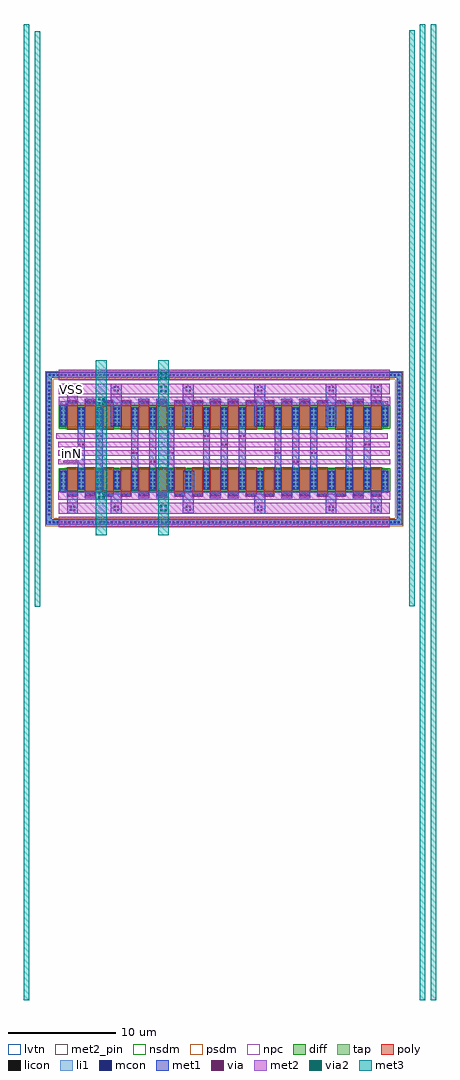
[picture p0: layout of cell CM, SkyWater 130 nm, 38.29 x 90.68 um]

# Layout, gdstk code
import gdstk
lib = gdstk.Library(unit=1e-6, precision=5e-09)
def R(c, l, rs):  # rectangles x0, y0, x1, y1
    for r in rs: c.add(gdstk.rectangle(r[:2], r[2:], *l))
def A(c, l, x, y, w, h, nx, ny, dx, dy):  # array of equal rectangles
    R(c, l, [(x+i*dx, y+j*dy, x+i*dx+w, y+j*dy+h) for i in range(nx) for j in range(ny)])
def P(c, l, *ps):  # polygons
    for p in ps: c.add(gdstk.Polygon(p, *l))
diff = (65, 20)
tap = (65, 44)
poly = (66, 20)
licon = (66, 44)
li1 = (67, 20)
mcon = (67, 44)
met1 = (68, 20)
via = (68, 44)
met2_pin = (69, 16)
met2 = (69, 20)
via2 = (69, 44)
met3 = (70, 20)
nsdm = (93, 44)
psdm = (94, 20)
npc = (95, 20)
lvtn = (125, 44)

nfet = lib.new_cell('nfet')
R(nfet, diff, [(0,0,2.32,2)])
R(nfet, poly, [(0.66,-0.2,1.66,2.2), (0.66,2.2,1.66,2.53)])
A(nfet, licon, 0.065, 0.195, 0.17, 0.17, 1, 5, 0, 0.36)
A(nfet, licon, 0.425, 0.195, 0.17, 0.17, 1, 5, 0, 0.36)
A(nfet, licon, 1.725, 0.195, 0.17, 0.17, 1, 5, 0, 0.36)
A(nfet, licon, 2.085, 0.195, 0.17, 0.17, 1, 5, 0, 0.36)
A(nfet, licon, 0.715, 2.28, 0.17, 0.17, 3, 1, 0.36, 0)
R(nfet, li1, [(0.065,0.115,0.595,1.885), (1.725,0.115,2.255,1.885), (0.635,2.28,1.685,2.45)])
A(nfet, mcon, 0.065, 0.195, 0.17, 0.17, 1, 5, 0, 0.36)
A(nfet, mcon, 0.425, 0.195, 0.17, 0.17, 1, 5, 0, 0.36)
A(nfet, mcon, 1.725, 0.195, 0.17, 0.17, 1, 5, 0, 0.36)
A(nfet, mcon, 2.085, 0.195, 0.17, 0.17, 1, 5, 0, 0.36)
A(nfet, mcon, 0.715, 2.28, 0.17, 0.17, 3, 1, 0.36, 0)
R(nfet, met1, [(0.035,0.135,0.625,1.865), (1.695,0.135,2.285,1.865), (0.655,2.25,1.665,2.48)])
R(nfet, nsdm, [(-0.125,-0.125,2.445,2.125)])
R(nfet, npc, [(0.65,2.19,1.67,2.54)])
R(nfet, lvtn, [(0.48,-0.18,1.84,2.18)])

vias_gen = lib.new_cell('vias_gen')
R(vias_gen, met1, [(0,0,0.64,0.5)])
R(vias_gen, via, [(0.085,0.175,0.235,0.325), (0.405,0.175,0.555,0.325)])
R(vias_gen, met2, [(0,0,0.64,0.5)])

vias_gen_3 = lib.new_cell('vias_gen$3')
R(vias_gen_3, met1, [(0,0,0.8,0.8)])
R(vias_gen_3, via, [(0.165,0.165,0.315,0.315), (0.485,0.165,0.635,0.315), (0.165,0.485,0.315,0.635), (0.485,0.485,0.635,0.635)])
R(vias_gen_3, met2, [(0,0,0.8,0.8)])

guard_ring_gen = lib.new_cell('guard_ring_gen')
P(guard_ring_gen, tap, [(-0.5,-0.5),(-0.5,13.165),(0,13.165),(0,0),(32.04,0),(32.04,13.165),(-0.5,13.165),(-0.5,13.665),(32.54,13.665),(32.54,-0.5)])
A(guard_ring_gen, licon, -0.265, -0.335, 0.17, 0.17, 91, 2, 0.36, 13.665)
A(guard_ring_gen, licon, -0.335, 0.38, 0.17, 0.17, 1, 35, 0, 0.36)
A(guard_ring_gen, licon, 32.205, 0.38, 0.17, 0.17, 1, 35, 0, 0.36)
P(guard_ring_gen, li1, [(-0.5,-0.5),(-0.5,13.165),(0,13.165),(0,0),(32.04,0),(32.04,13.165),(-0.5,13.165),(-0.5,13.665),(32.54,13.665),(32.54,-0.5)])
A(guard_ring_gen, mcon, -0.265, -0.335, 0.17, 0.17, 91, 2, 0.36, 13.665)
A(guard_ring_gen, mcon, -0.335, 0.38, 0.17, 0.17, 1, 35, 0, 0.36)
A(guard_ring_gen, mcon, 32.205, 0.38, 0.17, 0.17, 1, 35, 0, 0.36)
P(guard_ring_gen, met1, [(-0.5,-0.5),(-0.5,13.165),(0,13.165),(0,0),(32.04,0),(32.04,13.165),(-0.5,13.165),(-0.5,13.665),(32.54,13.665),(32.54,-0.5)])
P(guard_ring_gen, psdm, [(-0.625,-0.625),(-0.625,13.04),(0.125,13.04),(0.125,0.125),(31.915,0.125),(31.915,13.04),(-0.625,13.04),(-0.625,13.79),(32.665,13.79),(32.665,-0.625)])

vias_gen_2 = lib.new_cell('vias_gen$2')
R(vias_gen_2, met2, [(0,0,0.8,0.8)])
R(vias_gen_2, via2, [(0.1,0.1,0.3,0.3), (0.5,0.1,0.7,0.3), (0.1,0.5,0.3,0.7), (0.5,0.5,0.7,0.7)])
R(vias_gen_2, met3, [(0,0,0.8,0.8)])

c_cm = lib.new_cell('CM')
R(c_cm, met1, [(145.37,165.26,146.39,165.76), (150.36,165.26,151.38,165.76), (152.015,165.26,153.035,165.76), (156.995,165.26,158.015,165.76), (158.655,165.26,159.675,165.76), (163.635,165.26,164.655,165.76), (165.29,165.26,166.31,165.76), (170.27,165.26,171.29,165.76), (145.375,165.27,146.39,165.61), (150.36,165.27,151.375,165.61), (150.365,165.27,151.38,165.61), (152.015,165.27,153.03,165.61), (152.02,165.27,153.035,165.61), (156.995,165.27,158.01,165.61), (157,165.27,158.015,165.61), (158.655,165.27,159.67,165.61), (158.66,165.27,159.675,165.61), (163.635,165.27,164.65,165.61), (163.64,165.27,164.655,165.61), (165.29,165.27,166.305,165.61), (165.295,165.27,166.31,165.61), (170.27,165.27,171.285,165.61), (170.275,165.27,171.29,165.61), (152.015,165.275,153.03,165.615), (152.015,165.275,153.03,165.615), (156.995,165.275,158.01,165.615), (156.995,165.275,158.01,165.615), (157,165.275,158.015,165.615), (158.655,165.275,159.67,165.615), (158.655,165.275,159.67,165.615), (158.655,165.275,159.67,165.615), (158.66,165.275,159.675,165.615), (163.635,165.275,164.65,165.615), (163.635,165.275,164.65,165.615), (163.635,165.275,164.65,165.615), (163.635,165.275,164.65,165.615), (163.64,165.275,164.655,165.615), (165.29,165.275,166.305,165.615), (165.29,165.275,166.305,165.615), (165.29,165.275,166.305,165.615), (165.29,165.275,166.305,165.615), (165.295,165.275,166.31,165.615), (165.295,165.275,166.31,165.615), (170.27,165.275,171.285,165.615), (170.27,165.275,171.285,165.615), (170.27,165.275,171.285,165.615), (170.27,165.275,171.285,165.615), (170.275,165.275,171.29,165.615), (170.275,165.275,171.29,165.615), (170.275,165.275,171.29,165.615), (145.37,174,146.39,174.5), (150.36,174,151.38,174.5), (152.015,174,153.035,174.5), (156.995,174,158.015,174.5), (158.655,174,159.675,174.5), (163.635,174,164.655,174.5), (165.29,174,166.31,174.5), (170.27,174,171.29,174.5), (145.375,174.01,146.39,174.35), (150.36,174.01,151.375,174.35), (150.365,174.01,151.38,174.35), (152.015,174.01,153.03,174.35), (152.02,174.01,153.035,174.35), (156.995,174.01,158.01,174.35), (157,174.01,158.015,174.35), (158.655,174.01,159.67,174.35), (158.66,174.01,159.675,174.35), (163.635,174.01,164.65,174.35), (163.64,174.01,164.655,174.35), (165.29,174.01,166.305,174.35), (165.295,174.01,166.31,174.35), (170.27,174.01,171.285,174.35), (170.275,174.01,171.29,174.35), (152.015,174.015,153.03,174.355), (152.015,174.015,153.03,174.355), (156.995,174.015,158.01,174.355), (156.995,174.015,158.01,174.355), (157,174.015,158.015,174.355), (158.655,174.015,159.67,174.355), (158.655,174.015,159.67,174.355), (158.655,174.015,159.67,174.355), (158.66,174.015,159.675,174.355), (163.635,174.015,164.65,174.355), (163.635,174.015,164.65,174.355), (163.635,174.015,164.65,174.355), (163.635,174.015,164.65,174.355), (163.64,174.015,164.655,174.355), (165.29,174.015,166.305,174.355), (165.29,174.015,166.305,174.355), (165.29,174.015,166.305,174.355), (165.29,174.015,166.305,174.355), (165.295,174.015,166.31,174.355), (165.295,174.015,166.31,174.355), (170.27,174.015,171.285,174.355), (170.27,174.015,171.285,174.355), (170.27,174.015,171.285,174.355), (170.27,174.015,171.285,174.355), (170.275,174.015,171.29,174.355), (170.275,174.015,171.29,174.355), (170.275,174.015,171.29,174.355)])
R(c_cm, lvtn, [(143.545,165.73,173.125,168.09)])
P(c_cm, lvtn, [(143.545,171.64),(143.545,174.1),(149.53,174.1),(173.125,174.1),(173.125,171.64)])
c_cm.add(gdstk.FlexPath([(173.73,174.25),(142.94,174.25)], 0.8, ends="flush", simple_path=True, layer=69, datatype=20))  # met2
c_cm.add(gdstk.FlexPath([(173.735,165.51),(142.925,165.51)], 0.8, ends="flush", simple_path=True, layer=69, datatype=20))  # met2
c_cm.add(gdstk.FlexPath([(173.51,171.025),(142.72,171.025)], 0.5, ends="flush", simple_path=True, layer=69, datatype=20))  # met2
c_cm.add(gdstk.FlexPath([(173.725,169.425),(142.925,169.425)], 0.5, ends="flush", simple_path=True, layer=69, datatype=20))  # met2
c_cm.add(gdstk.FlexPath([(173.725,163.02),(142.935,163.02)], 1, ends="flush", simple_path=True, layer=69, datatype=20))  # met2
c_cm.add(gdstk.FlexPath([(173.715,176.685),(142.935,176.685)], 1, ends="flush", simple_path=True, layer=69, datatype=20))  # met2
c_cm.add(gdstk.FlexPath([(173.725,164.32),(142.935,164.32)], 1, ends="flush", simple_path=True, layer=69, datatype=20))  # met2
c_cm.add(gdstk.FlexPath([(173.735,168.63),(142.925,168.63)], 0.5, ends="flush", simple_path=True, layer=69, datatype=20))  # met2
c_cm.add(gdstk.FlexPath([(173.725,170.225),(142.925,170.225)], 0.5, ends="flush", simple_path=True, layer=69, datatype=20))  # met2
c_cm.add(gdstk.FlexPath([(173.715,175.385),(142.935,175.385)], 1, ends="flush", simple_path=True, layer=69, datatype=20))  # met2
c_cm.add(gdstk.FlexPath([(152.68,161.8),(152.68,178.04)], 1, ends="flush", simple_path=True, layer=70, datatype=20))  # met3
c_cm.add(gdstk.FlexPath([(146.91,161.8),(146.91,178.04)], 1, ends="flush", simple_path=True, layer=70, datatype=20))  # met3
c_cm.add(gdstk.FlexPath([(176.755,209.3),(176.755,118.62)], 0.5, ends="flush", simple_path=True, layer=70, datatype=20))  # met3
c_cm.add(gdstk.FlexPath([(175.755,208.72),(175.755,155.225)], 0.5, ends="flush", simple_path=True, layer=70, datatype=20))  # met3
c_cm.add(gdstk.FlexPath([(140.97,208.63),(140.97,155.135)], 0.5, ends="flush", simple_path=True, layer=70, datatype=20))  # met3
c_cm.add(gdstk.FlexPath([(139.97,209.3),(139.97,118.62)], 0.5, ends="flush", simple_path=True, layer=70, datatype=20))  # met3
c_cm.add(gdstk.FlexPath([(177.755,209.3),(177.755,118.62)], 0.5, ends="flush", simple_path=True, layer=70, datatype=20))  # met3
c_cm.add(gdstk.FlexPath([(144.225,174.17),(144.225,175.885)], 1.01, ends="flush", simple_path=True, layer=68, datatype=20))  # met1
c_cm.add(gdstk.FlexPath([(148.31,171.935),(148.31,175.885)], 1.01, ends="flush", simple_path=True, layer=68, datatype=20))  # met1
c_cm.add(gdstk.FlexPath([(154.99,171.82),(154.99,175.885)], 1.01, ends="flush", simple_path=True, layer=68, datatype=20))  # met1
c_cm.add(gdstk.FlexPath([(161.63,171.935),(161.63,175.885)], 1.01, ends="flush", simple_path=True, layer=68, datatype=20))  # met1
c_cm.add(gdstk.FlexPath([(168.25,171.82),(168.25,175.885)], 1.01, ends="flush", simple_path=True, layer=68, datatype=20))  # met1
c_cm.add(gdstk.FlexPath([(172.445,174.17),(172.445,175.885)], 1.01, ends="flush", simple_path=True, layer=68, datatype=20))  # met1
c_cm.add(gdstk.FlexPath([(143.395,173.685),(143.395,174.19)], 0.59, ends="flush", simple_path=True, layer=68, datatype=20))  # met1
c_cm.add(gdstk.FlexPath([(143.1,174.17),(144.73,174.17)], 0.2, ends="flush", simple_path=True, layer=68, datatype=20))  # met1
c_cm.add(gdstk.FlexPath([(171.94,174.17),(173.57,174.17)], 0.2, ends="flush", simple_path=True, layer=68, datatype=20))  # met1
c_cm.add(gdstk.FlexPath([(173.275,173.685),(173.275,174.19)], 0.59, ends="flush", simple_path=True, layer=68, datatype=20))  # met1
c_cm.add(gdstk.FlexPath([(144.225,165.535),(144.225,163.82)], 1.01, ends="flush", simple_path=True, layer=68, datatype=20))  # met1
c_cm.add(gdstk.FlexPath([(148.31,165.66),(148.31,163.82)], 1.01, ends="flush", simple_path=True, layer=68, datatype=20))  # met1
c_cm.add(gdstk.FlexPath([(155.015,167.795),(154.99,163.82)], 1.01, ends="flush", simple_path=True, layer=68, datatype=20))  # met1
c_cm.add(gdstk.FlexPath([(161.63,165.66),(161.63,163.82)], 1.01, ends="flush", simple_path=True, layer=68, datatype=20))  # met1
c_cm.add(gdstk.FlexPath([(168.25,165.66),(168.25,163.82)], 1.01, ends="flush", simple_path=True, layer=68, datatype=20))  # met1
c_cm.add(gdstk.FlexPath([(172.445,165.535),(172.445,163.82)], 1.01, ends="flush", simple_path=True, layer=68, datatype=20))  # met1
c_cm.add(gdstk.FlexPath([(143.4,166.33),(143.4,165.825)], 0.59, ends="flush", simple_path=True, layer=68, datatype=20))  # met1
c_cm.add(gdstk.FlexPath([(143.105,165.845),(144.735,165.845)], 0.2, ends="flush", simple_path=True, layer=68, datatype=20))  # met1
c_cm.add(gdstk.FlexPath([(171.945,165.845),(173.575,165.845)], 0.2, ends="flush", simple_path=True, layer=68, datatype=20))  # met1
c_cm.add(gdstk.FlexPath([(173.28,166.33),(173.28,165.825)], 0.59, ends="flush", simple_path=True, layer=68, datatype=20))  # met1
c_cm.add(gdstk.FlexPath([(145.05,173.685),(145.05,166.02)], 0.64, ends="flush", simple_path=True, layer=68, datatype=20))  # met1
c_cm.add(gdstk.FlexPath([(171.62,173.685),(171.62,166.27)], 0.64, ends="flush", simple_path=True, layer=68, datatype=20))  # met1
c_cm.add(gdstk.FlexPath([(146.7,173.685),(146.7,166.02)], 0.64, ends="flush", simple_path=True, layer=68, datatype=20))  # met1
c_cm.add(gdstk.FlexPath([(169.95,173.685),(169.95,166.27)], 0.64, ends="flush", simple_path=True, layer=68, datatype=20))  # met1
c_cm.add(gdstk.FlexPath([(150.03,173.685),(150.03,165.98)], 0.64, ends="flush", simple_path=True, layer=68, datatype=20))  # met1
c_cm.add(gdstk.FlexPath([(151.7,173.685),(151.7,165.98)], 0.64, ends="flush", simple_path=True, layer=68, datatype=20))  # met1
c_cm.add(gdstk.FlexPath([(153.35,173.685),(153.35,165.98)], 0.64, ends="flush", simple_path=True, layer=68, datatype=20))  # met1
c_cm.add(gdstk.FlexPath([(166.635,173.685),(166.635,166.03)], 0.64, ends="flush", simple_path=True, layer=68, datatype=20))  # met1
c_cm.add(gdstk.FlexPath([(159.99,173.685),(159.99,166.03)], 0.64, ends="flush", simple_path=True, layer=68, datatype=20))  # met1
c_cm.add(gdstk.FlexPath([(158.32,173.685),(158.32,166.03)], 0.64, ends="flush", simple_path=True, layer=68, datatype=20))  # met1
c_cm.add(gdstk.FlexPath([(156.68,173.685),(156.68,166.03)], 0.64, ends="flush", simple_path=True, layer=68, datatype=20))  # met1
c_cm.add(gdstk.FlexPath([(164.965,173.685),(164.965,166.03)], 0.64, ends="flush", simple_path=True, layer=68, datatype=20))  # met1
c_cm.add(gdstk.FlexPath([(163.325,173.685),(163.325,166.03)], 0.64, ends="flush", simple_path=True, layer=68, datatype=20))  # met1
c_cm.add(gdstk.FlexPath([(143.39,169.425),(144.73,169.425)], 0.2, ends="flush", simple_path=True, layer=69, datatype=16))  # met2_pin
c_cm.add(gdstk.FlexPath([(143.39,168.62),(144.73,168.62)], 0.2, ends="flush", simple_path=True, layer=69, datatype=16))  # met2_pin
c_cm.add(gdstk.FlexPath([(143.39,175.36),(144.73,175.36)], 0.2, ends="flush", simple_path=True, layer=69, datatype=16))  # met2_pin
c_cm.add(gdstk.Reference(nfet, (151.365,171.82)))
c_cm.add(gdstk.Reference(vias_gen, (145.58,174)))
c_cm.add(gdstk.Reference(vias_gen, (150.57,174)))
c_cm.add(gdstk.Reference(vias_gen, (152.22,174)))
c_cm.add(gdstk.Reference(vias_gen, (157.2,174)))
c_cm.add(gdstk.Reference(vias_gen, (158.86,174)))
c_cm.add(gdstk.Reference(vias_gen, (163.84,174)))
c_cm.add(gdstk.Reference(vias_gen, (165.49,174)))
c_cm.add(gdstk.Reference(vias_gen, (170.465,174)))
c_cm.add(gdstk.Reference(nfet, (166.305,171.82)))
c_cm.add(gdstk.Reference(vias_gen_3, (143.83,175.01)))
c_cm.add(gdstk.Reference(vias_gen_3, (147.91,175.01)))
c_cm.add(gdstk.Reference(nfet, (164.645,171.82)))
c_cm.add(gdstk.Reference(vias_gen_3, (154.59,175.01)))
c_cm.add(gdstk.Reference(vias_gen_3, (161.24,175.01)))
c_cm.add(gdstk.Reference(vias_gen_3, (167.86,175.01)))
c_cm.add(gdstk.Reference(vias_gen_3, (172.04,175.01)))
c_cm.add(gdstk.Reference(vias_gen_3, (143.83,164.69), x_reflection=True))
c_cm.add(gdstk.Reference(vias_gen_3, (147.91,164.69), x_reflection=True))
c_cm.add(gdstk.Reference(vias_gen_3, (154.59,164.69), x_reflection=True))
c_cm.add(gdstk.Reference(vias_gen_3, (161.24,164.69), x_reflection=True))
c_cm.add(gdstk.Reference(vias_gen_3, (167.86,164.69), x_reflection=True))
c_cm.add(gdstk.Reference(vias_gen_3, (172.04,164.69), x_reflection=True))
c_cm.add(gdstk.Reference(vias_gen, (145.58,165.26)))
c_cm.add(gdstk.Reference(vias_gen, (150.57,165.26)))
c_cm.add(gdstk.Reference(vias_gen, (152.22,165.26)))
c_cm.add(gdstk.Reference(vias_gen, (157.2,165.26)))
c_cm.add(gdstk.Reference(nfet, (167.965,167.91), x_reflection=True))
c_cm.add(gdstk.Reference(nfet, (171.285,167.91), x_reflection=True))
c_cm.add(gdstk.Reference(vias_gen, (158.86,165.26)))
c_cm.add(gdstk.Reference(nfet, (169.625,167.91), x_reflection=True))
c_cm.add(gdstk.Reference(vias_gen, (163.84,165.26)))
c_cm.add(gdstk.Reference(nfet, (167.965,171.82)))
c_cm.add(gdstk.Reference(nfet, (151.365,167.91), x_reflection=True))
c_cm.add(gdstk.Reference(nfet, (149.705,171.82)))
c_cm.add(gdstk.Reference(nfet, (148.045,171.82)))
c_cm.add(gdstk.Reference(nfet, (149.705,167.91), x_reflection=True))
c_cm.add(gdstk.Reference(nfet, (148.045,167.91), x_reflection=True))
c_cm.add(gdstk.Reference(vias_gen, (165.49,165.26)))
c_cm.add(gdstk.Reference(vias_gen, (170.465,165.26)))
c_cm.add(gdstk.Reference(nfet, (146.385,167.91), x_reflection=True))
c_cm.add(gdstk.Reference(nfet, (146.385,171.82)))
c_cm.add(gdstk.Reference(nfet, (144.72,171.82)))
c_cm.add(gdstk.Reference(nfet, (143.065,171.82)))
c_cm.add(gdstk.Reference(nfet, (143.065,167.91), x_reflection=True))
c_cm.add(gdstk.Reference(nfet, (161.325,167.91), x_reflection=True))
c_cm.add(gdstk.Reference(nfet, (171.285,171.82)))
c_cm.add(gdstk.Reference(nfet, (162.985,167.91), x_reflection=True))
c_cm.add(gdstk.Reference(nfet, (162.985,171.82)))
c_cm.add(gdstk.Reference(nfet, (159.665,167.91), x_reflection=True))
c_cm.add(gdstk.Reference(nfet, (158.005,167.91), x_reflection=True))
c_cm.add(gdstk.Reference(nfet, (156.345,167.91), x_reflection=True))
c_cm.add(gdstk.Reference(nfet, (154.685,167.91), x_reflection=True))
c_cm.add(gdstk.Reference(nfet, (153.025,167.91), x_reflection=True))
c_cm.add(gdstk.Reference(nfet, (144.725,167.91), x_reflection=True))
c_cm.add(gdstk.Reference(nfet, (161.325,171.82)))
c_cm.add(gdstk.Reference(nfet, (159.665,171.82)))
c_cm.add(gdstk.Reference(nfet, (158.005,171.82)))
c_cm.add(gdstk.Reference(nfet, (156.345,171.82)))
c_cm.add(gdstk.Reference(nfet, (154.685,171.82)))
c_cm.add(gdstk.Reference(nfet, (153.025,171.82)))
c_cm.add(gdstk.Reference(nfet, (169.625,171.82)))
c_cm.add(gdstk.Reference(nfet, (164.645,167.91), x_reflection=True))
c_cm.add(gdstk.Reference(nfet, (166.305,167.91), x_reflection=True))
c_cm.add(gdstk.Reference(vias_gen, (156.36,170.775)))
c_cm.add(gdstk.Reference(vias_gen, (158,169.975)))
c_cm.add(gdstk.Reference(vias_gen, (159.67,170.775)))
c_cm.add(gdstk.Reference(vias_gen, (146.38,170.775)))
c_cm.add(gdstk.Reference(vias_gen, (169.63,170.775)))
c_cm.add(gdstk.Reference(vias_gen, (171.3,169.975)))
c_cm.add(gdstk.Reference(guard_ring_gen, (142.31,163.27)))
c_cm.add(gdstk.Reference(vias_gen, (149.71,169.175)))
c_cm.add(gdstk.Reference(vias_gen, (151.38,168.38)))
c_cm.add(gdstk.Reference(vias_gen, (153.03,169.175)))
c_cm.add(gdstk.Reference(vias_gen, (163.005,169.175)))
c_cm.add(gdstk.Reference(vias_gen, (164.645,168.38)))
c_cm.add(gdstk.Reference(vias_gen, (166.315,169.175)))
c_cm.add(gdstk.Reference(vias_gen_2, (152.29,176.24)))
c_cm.add(gdstk.Reference(vias_gen_2, (152.29,174.99)))
c_cm.add(gdstk.Reference(vias_gen_2, (152.29,163.92)))
c_cm.add(gdstk.Reference(vias_gen, (144.73,169.975)))
c_cm.add(gdstk.Reference(vias_gen_2, (146.51,173.85)))
c_cm.add(gdstk.Reference(vias_gen_2, (146.51,165.11)))
c_cm.add(gdstk.Label('inN', (144.13,169.425), layer=69, texttype=16))
c_cm.add(gdstk.Label('N', (144.13,168.62), layer=69, texttype=16))
c_cm.add(gdstk.Label('VSS', (144.13,175.36), layer=69, texttype=16))

lib.write_gds('CM.gds')
